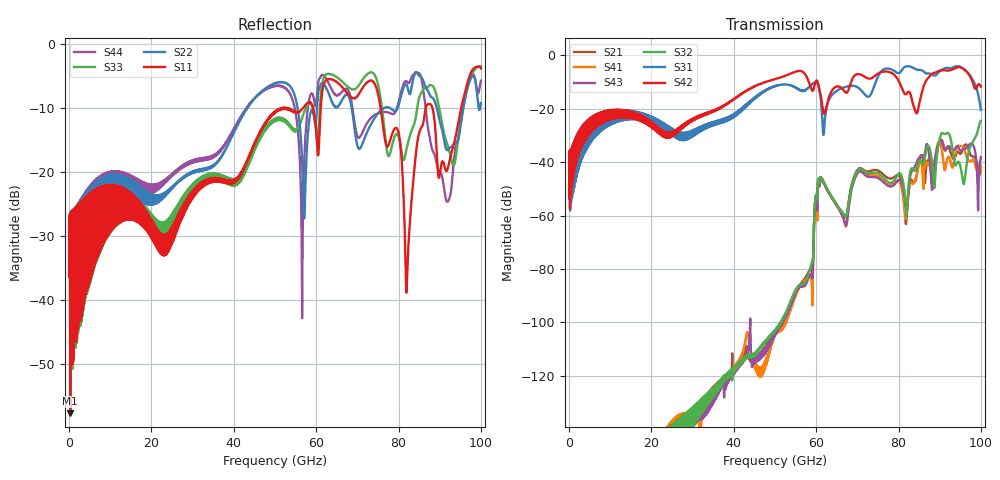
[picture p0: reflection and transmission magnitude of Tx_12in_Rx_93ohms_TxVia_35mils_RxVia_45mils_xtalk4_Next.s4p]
! Info: Touchstone file created by Circ.  Input file=Tx_12in_Rx_93ohms_TxVia_35mils_RxVia_45mils.circ
# Hz S RI R 50
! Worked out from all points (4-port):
!   10000 points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, 10 MHz to 100 GHz, reference 50 ohm
!   strongest paths, dB at 10 MHz, 25.01 GHz, 50.01 GHz, 75.01 GHz, 100 GHz:
!     S42: -52.9, -30.2, -8.9, -6.9, -11.7
!     S31: -53.6, -28.6, -11.6, -8.0, -20.5
!     S32: -, -139.6, -103.4, -44.1, -24.6
!     S43: -, -139.1, -105.0, -46.0, -38.1
!     S41: -, -137.2, -105.0, -45.2, -42.9
!     S21: -, -141.2, -104.7, -43.1, -41.9
!   lowest |S11| = -57.7 dB at 270 MHz (marker M1), VSWR 1.00, Z = 49.9 + j0.00356 ohm
!   |S11| at or under -10 dB: start of sweep to 51.68 GHz; 75.63 GHz to 86.62 GHz (10.98 GHz wide, 13.5 % of centre); 88.23 GHz to 95.21 GHz (6.979 GHz wide, 7.61 % of centre)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
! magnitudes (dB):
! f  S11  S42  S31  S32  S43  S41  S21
! 10 MHz  -36.4  -52.9  -53.6  -  -  -  -
! 270 MHz  -57.7  -44.2  -44.2  -198.0  -197.4  -195.5  -197.9
! 58.13 GHz  -9.1  -9.6  -12.1  -81.9  -83.4  -82.5  -81.3
! 60.95 GHz  -11.9  -14.1  -14.3  -46.3  -47.2  -46.9  -46.1
! 74.09 GHz  -6.1  -7.9  -11.5  -43.9  -45.6  -44.7  -42.9
! 82.04 GHz  -37.2  -14.3  -4.1  -58.8  -56.4  -58.3  -58.4
! 100 GHz  -3.8  -11.7  -20.5  -24.6  -38.1  -42.9  -41.9
